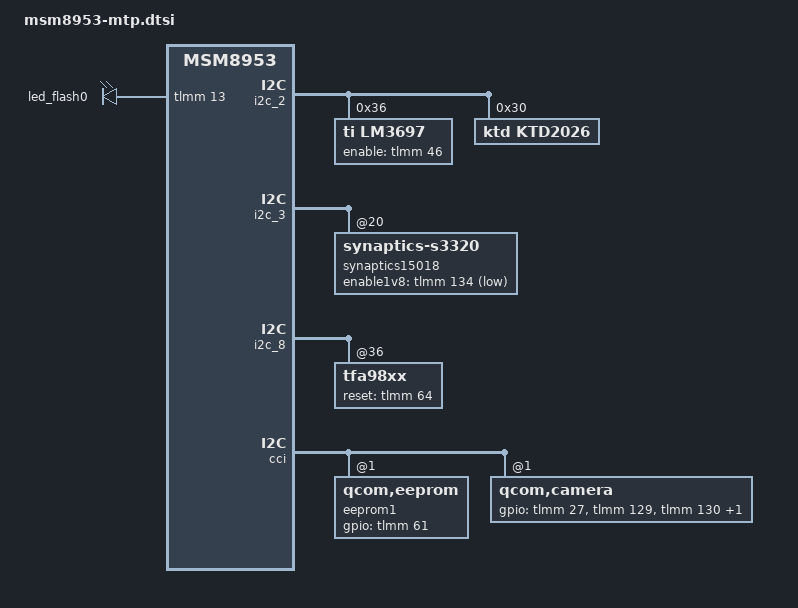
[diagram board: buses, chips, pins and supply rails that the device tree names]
/*
 * Copyright (c) 2015-2019, The Linux Foundation. All rights reserved.
 *
 * This program is free software; you can redistribute it and/or modify
 * it under the terms of the GNU General Public License version 2 and
 * only version 2 as published by the Free Software Foundation.
 *
 * This program is distributed in the hope that it will be useful,
 * but WITHOUT ANY WARRANTY; without even the implied warranty of
 * MERCHANTABILITY or FITNESS FOR A PARTICULAR PURPOSE.  See the
 * GNU General Public License for more details.
 */

#include "msm8953-mdss-panels.dtsi"
#include "msm8953-pinctrl.dtsi"

&mdss_dsi0 {
	qcom,dsi-pref-prim-pan = <&dsi_oppo16027jdi_r63452_1080p_cmd>;

	qcom,platform-enable-gpio = <&tlmm 38 0>;
	qcom,platform-bklight-en-gpio = <&tlmm 34 0>;
};

&labibb {
	qcom,qpnp-labibb-mode = "lcd";
};

&i2c_2 {
	lm3697@36 {
		compatible = "ti,lm3697";
		reg = <0x36>;
		ti,enable-gpio = <&tlmm 46 0x00>;

		lcd_bl {
			backlight-name = "lm3697";
			led-sources = <2>;
			max-current-milliamp = <18>;
			initial-brightness = <1024>;
		};
	};

	ktd2026@30 {
		status = "okay";
		compatible = "ktd,ktd2026";
		reg = <0x30>;
		ktd2026,max_brightness = <0x18>;
	};
};

&i2c_3 { /* BLSP1 QUP3 */
	synaptics15018@20 {
		compatible = "synaptics-s3320";
		synaptics,tx-rx-num = <18 32>;
		synaptics,enable1v8-gpio = <&tlmm 134 0x1>;
	};
};

&i2c_8 { /* BLSP2 QUP4 */
	tfa98xx@36 {
		reset-gpio = <&tlmm 64 0x00>;
	};
};

/* msm8953-regulator.dtsi */
&eldo2_8953 {
	gpio = <&tlmm 67 0>;
};

/* msm8953-camera-sensor-mtp.dtsi */
&led_flash0 {
	gpios = <&tlmm 13 0>, <&tlmm 141 0>;
};

&cci {
	eeprom1: qcom,eeprom@1 {
		gpios = <&tlmm 61 0>;
	};

	qcom,camera@1 {
		gpios = <&tlmm 27 0>, <&tlmm 129 0>,
				<&tlmm 130 0>, <&tlmm 61 0>;
	};
};
